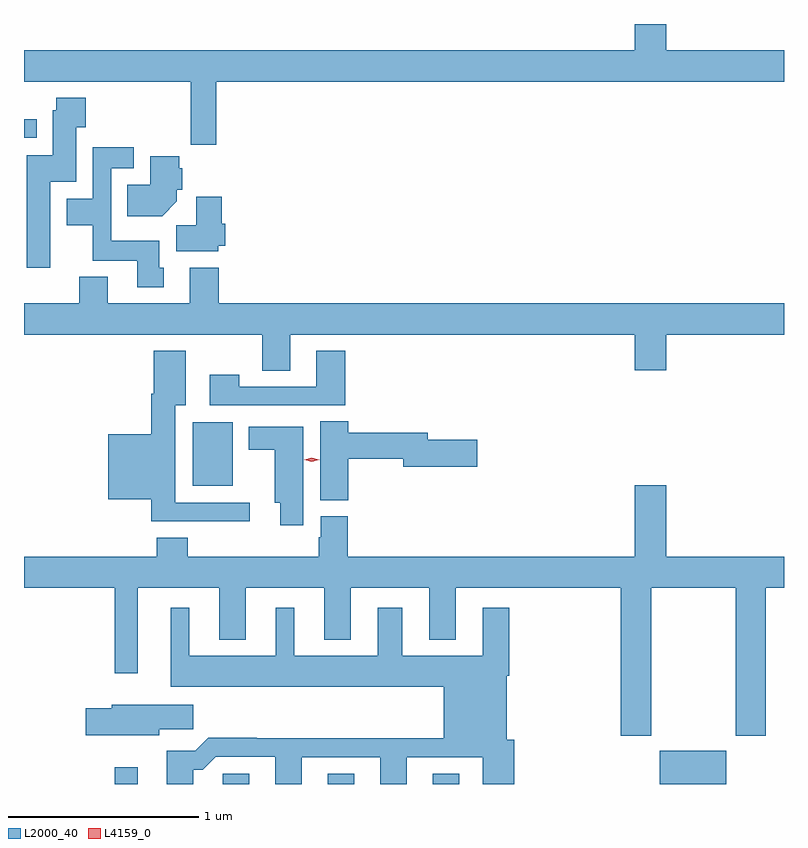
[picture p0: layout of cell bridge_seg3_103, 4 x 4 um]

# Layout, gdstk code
import gdstk
lib = gdstk.Library(unit=1e-6, precision=1e-09)
def R(c, l, rs):  # rectangles x0, y0, x1, y1
    for r in rs: c.add(gdstk.rectangle(r[:2], r[2:], *l))
def P(c, l, *ps):  # polygons
    for p in ps: c.add(gdstk.Polygon(p, *l))
L2000_40 = (2000, 40)
L4159_0 = (4159, 0)

bridge_seg3_103 = lib.new_cell('bridge_seg3_103')
R(bridge_seg3_103, L2000_40, [(569.862,726.523,569.983,726.61), (570.432,726.523,570.571,726.578), (570.983,726.523,571.123,726.578), (571.535,726.523,571.675,726.578), (572.732,726.523,573.082,726.697), (570.272,728.093,570.484,728.428), (569.385,729.924,569.452,730.021)])
P(bridge_seg3_103, L2000_40, [(570.398,730.22),(573.385,730.22),(573.385,730.384),(572.764,730.384),(572.764,730.523),(572.6,730.523),(572.6,730.384),(569.385,730.384),(569.385,730.22),(570.262,730.22),(570.262,729.888),(570.398,729.888)],
  [(569.524,729.692),(569.659,729.692),(569.659,729.979),(569.711,729.979),(569.711,730.135),(569.554,730.135),(569.554,730.068),(569.537,730.068),(569.537,729.831),(569.399,729.831),(569.399,729.24),(569.524,729.24)],
  [(570.121,729.24),(570.097,729.24),(570.097,729.382),(569.844,729.382),(569.844,729.765),(569.962,729.765),(569.962,729.874),(569.748,729.874),(569.748,729.604),(569.609,729.604),(569.609,729.464),(569.746,729.464),(569.746,729.278),(569.981,729.278),(569.981,729.138),(570.121,729.138)],
  [(570.19,729.59),(570.19,729.651),(570.219,729.651),(570.219,729.765),(570.203,729.765),(570.203,729.826),(570.05,729.826),(570.05,729.676),(569.929,729.676),(569.929,729.512),(570.112,729.512)],
  [(570.408,729.357),(570.443,729.357),(570.443,729.471),(570.425,729.471),(570.425,729.613),(570.291,729.613),(570.291,729.464),(570.185,729.464),(570.185,729.326),(570.408,729.326)],
  [(570.787,728.888),(572.6,728.888),(572.6,728.7),(572.764,728.7),(572.764,728.888),(573.385,728.888),(573.385,729.052),(570.41,729.052),(570.41,729.241),(570.257,729.241),(570.257,729.052),(569.827,729.052),(569.827,729.193),(569.675,729.193),(569.675,729.052),(569.385,729.052),(569.385,728.888),(570.64,728.888),(570.64,728.698),(570.787,728.698)],
  [(571.076,728.803),(570.923,728.803),(570.923,728.613),(570.519,728.613),(570.519,728.677),(570.363,728.677),(570.363,728.517),(571.076,728.517)],
  [(570.574,728.004),(570.181,728.004),(570.181,728.516),(570.235,728.516),(570.235,728.803),(570.068,728.803),(570.068,728.576),(570.056,728.576),(570.056,728.365),(569.828,728.365),(569.828,728.021),(570.056,728.021),(570.056,727.907),(570.574,727.907)],
  [(571.091,728.236),(571.382,728.236),(571.382,728.194),(571.771,728.194),(571.771,728.336),(571.51,728.336),(571.51,728.372),(571.091,728.372),(571.091,728.432),(570.944,728.432),(570.944,728.017),(571.091,728.017)],
  [(570.856,728.404),(570.569,728.404),(570.569,728.282),(570.704,728.282),(570.704,728.003),(570.734,728.003),(570.734,727.884),(570.856,727.884)],
  [(572.685,727.556),(573.13,727.556),(573.13,726.777),(573.29,726.777),(573.29,727.556),(573.385,727.556),(573.385,727.72),(572.764,727.72),(572.764,728.095),(572.6,728.095),(572.6,727.72),(571.088,727.72),(571.088,727.932),(570.947,727.932),(570.947,727.821),(570.935,727.821),(570.935,727.72),(570.248,727.72),(570.248,727.819),(570.083,727.819),(570.083,727.72),(569.385,727.72),(569.385,727.556),(569.862,727.556),(569.862,727.107),(569.983,727.107),(569.983,727.556),(570.413,727.556),(570.413,727.283),(570.553,727.283),(570.553,727.556),(570.965,727.556),(570.965,727.283),(571.105,727.283),(571.105,727.556),(571.517,727.556),(571.517,727.283),(571.657,727.283),(571.657,727.556),(572.525,727.556),(572.525,726.777),(572.685,726.777)],
  [(570.277,726.599),(570.326,726.599),(570.393,726.666),(570.707,726.666),(570.707,726.523),(570.847,726.523),(570.847,726.663),(571.259,726.663),(571.259,726.523),(571.399,726.523),(571.399,726.663),(571.799,726.663),(571.799,726.523),(571.964,726.523),(571.964,726.756),(571.927,726.756),(571.927,727.094),(571.94,727.094),(571.94,727.45),(571.799,727.45),(571.799,727.198),(571.375,727.198),(571.375,727.45),(571.247,727.45),(571.247,727.198),(570.808,727.198),(570.808,727.45),(570.71,727.45),(570.71,727.198),(570.256,727.198),(570.256,727.45),(570.158,727.45),(570.158,727.034),(571.595,727.034),(571.595,726.764),(570.611,726.764),(570.611,726.767),(570.356,726.767),(570.286,726.697),(570.137,726.697),(570.137,726.523),(570.277,726.523)],
  [(570.097,726.811),(570.277,726.811),(570.277,726.94),(569.846,726.94),(569.846,726.923),(569.709,726.923),(569.709,726.779),(570.097,726.779)])
P(bridge_seg3_103, L4159_0, [(570.899,728.22),(570.86,728.23),(570.859,728.23),(570.86,728.23),(570.899,728.24),(570.938,728.23),(570.939,728.23),(570.938,728.23)])

lib.write_gds('bridge_seg3_103.gds')
